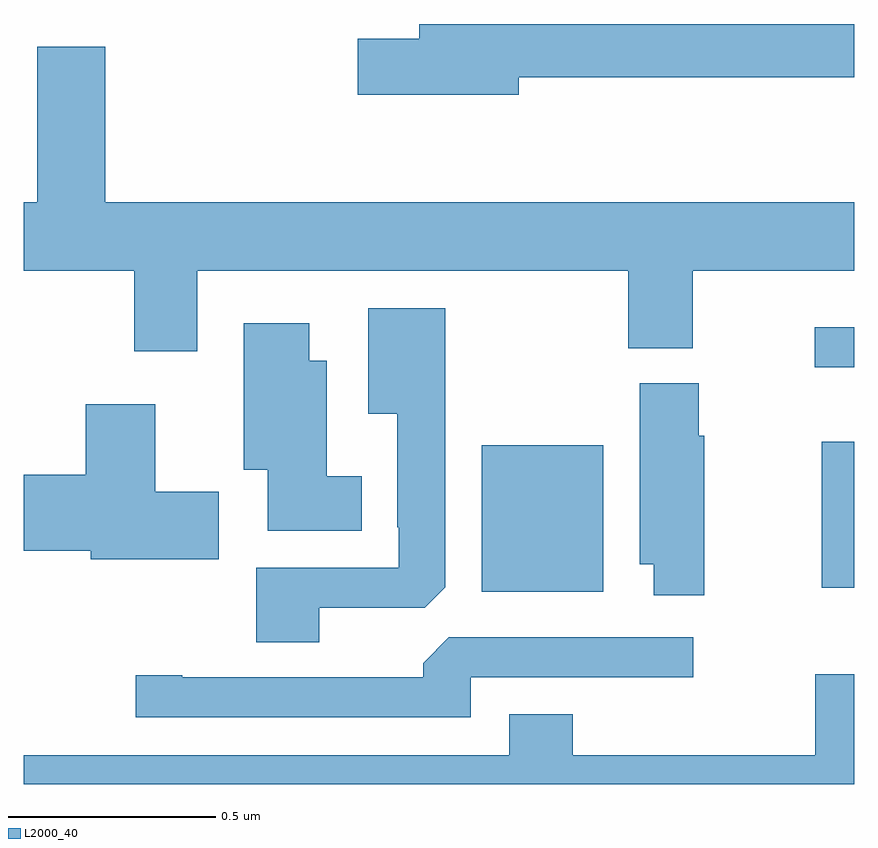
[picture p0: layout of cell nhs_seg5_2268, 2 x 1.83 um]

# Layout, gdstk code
import gdstk
lib = gdstk.Library(unit=1e-6, precision=1e-09)
def R(c, l, rs):  # rectangles x0, y0, x1, y1
    for r in rs: c.add(gdstk.rectangle(r[:2], r[2:], *l))
def P(c, l, *ps):  # polygons
    for p in ps: c.add(gdstk.Polygon(p, *l))
L2000_40 = (2000, 40)

nhs_seg5_2268 = lib.new_cell('nhs_seg5_2268')
R(nhs_seg5_2268, L2000_40, [(142.103,913.262,142.396,913.615), (142.922,913.272,143,913.624), (142.905,913.803,143,913.9)])
P(nhs_seg5_2268, L2000_40, [(142.192,914.502),(143,914.502),(143,914.63),(141.953,914.63),(141.953,914.594),(141.804,914.594),(141.804,914.459),(142.192,914.459)],
  [(141.196,914.575),(141.032,914.575),(141.032,914.2),(141,914.2),(141,914.036),(141.266,914.036),(141.266,913.842),(141.418,913.842),(141.418,914.036),(142.456,914.036),(142.456,913.849),(142.611,913.849),(142.611,914.036),(143,914.036),(143,914.2),(141.196,914.2)],
  [(141.712,913.224),(141.966,913.224),(142.015,913.273),(142.015,913.945),(141.83,913.945),(141.83,913.691),(141.899,913.691),(141.899,913.417),(141.903,913.417),(141.903,913.32),(141.56,913.32),(141.56,913.141),(141.712,913.141)],
  [(141.814,913.54),(141.73,913.54),(141.73,913.819),(141.688,913.819),(141.688,913.909),(141.53,913.909),(141.53,913.556),(141.587,913.556),(141.587,913.409),(141.814,913.409)],
  [(142.639,913.638),(142.626,913.638),(142.626,913.764),(142.484,913.764),(142.484,913.328),(142.517,913.328),(142.517,913.254),(142.639,913.254)],
  [(141.469,913.503),(141.316,913.503),(141.316,913.714),(141.149,913.714),(141.149,913.544),(141,913.544),(141,913.361),(141.161,913.361),(141.161,913.34),(141.469,913.34)],
  [(142.077,913.056),(142.612,913.056),(142.612,913.152),(142.023,913.152),(141.962,913.09),(141.962,913.056),(141.382,913.056),(141.382,913.061),(141.27,913.061),(141.27,912.96),(142.077,912.96)],
  [(141,912.799),(143,912.799),(143,913.063),(142.906,913.063),(142.906,912.868),(142.322,912.868),(142.322,912.967),(142.169,912.967),(142.169,912.868),(141,912.868)])

lib.write_gds('nhs_seg5_2268.gds')
